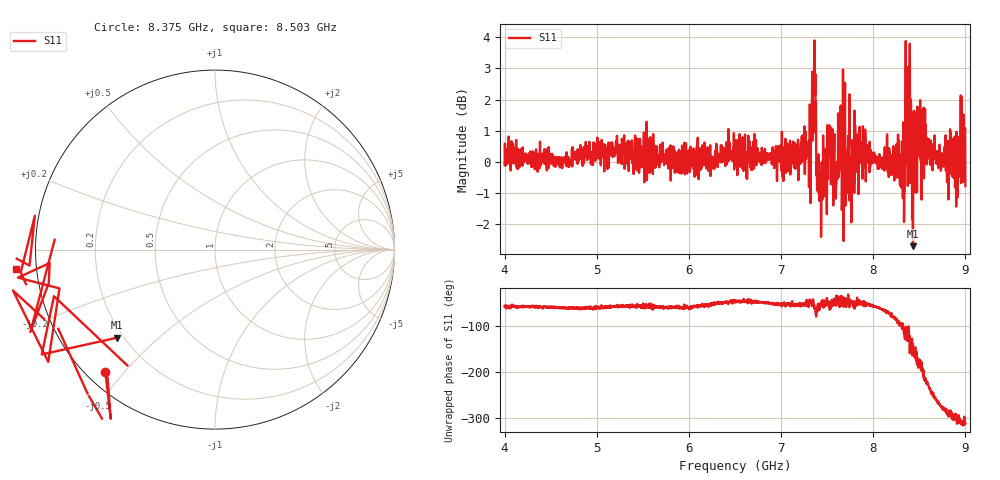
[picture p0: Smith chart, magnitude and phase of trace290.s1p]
! Created with skrf 1.8.0 (http://scikit-rf.org).
# Hz S RI R 50.0
!freq ReS11 ImS11
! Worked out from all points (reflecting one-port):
!   1601 points, 4 GHz to 9 GHz, reference 50 ohm
!   lowest |S11| = -2.7 dB at 8.431 GHz (marker M1), VSWR 6.50, Z = 8.8 - j18.7 ohm
!   phase of S11 starts at -57 deg and turns -256 deg over the sweep
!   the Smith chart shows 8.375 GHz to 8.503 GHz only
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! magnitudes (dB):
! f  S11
! 4 GHz  -0.1
! 4.625 GHz  -0.2
! 5.25 GHz  0.0
! 5.875 GHz  0.1
! 6.5 GHz  0.3
! 7.125 GHz  0.5
! 7.294 GHz  0.3
! 7.316 GHz  0.3
! 7.353 GHz  2.7
! 7.369 GHz  2.1
! 7.409 GHz  -1.0
! 7.441 GHz  0.0
! 7.538 GHz  1.0
! 7.591 GHz  -0.3
! 7.65 GHz  -0.3
! 7.75 GHz  -0.3
! 7.769 GHz  -0.8
! 7.8 GHz  -0.6
! 7.869 GHz  0.4
! 8.259 GHz  0.2
! 8.316 GHz  -0.1
! 8.375 GHz  -0.8
! 8.431 GHz  -2.7
! 8.522 GHz  1.6
! 8.597 GHz  0.4
! 8.806 GHz  0.5
! 8.972 GHz  0.4
! 9 GHz  -0.8
